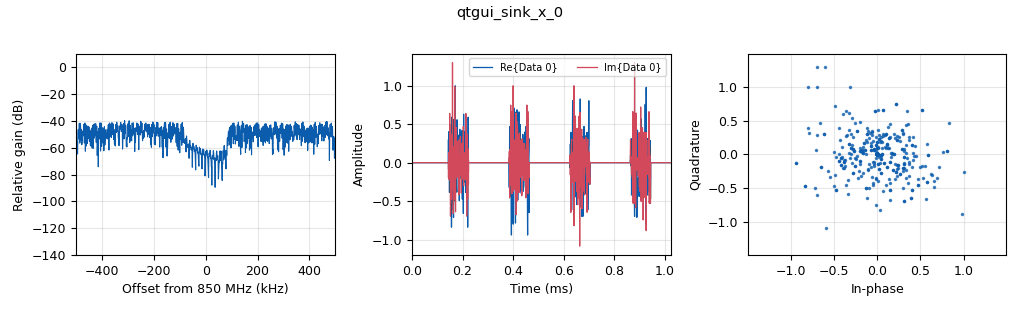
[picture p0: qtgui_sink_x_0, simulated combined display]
options:
  parameters:
    author: harsha
    generate_options: qt_gui
    id: IQ_TX
    output_language: python
    title: HackRF_TX
  states: {}

blocks:
- name: samp_rate
  id: variable
  parameters:
    value: 1e6
  states: {}
- name: analog_random_source_x_0
  id: analog_random_source_x
  parameters:
    max: '3'
    min: '0'
    num_samps: '1000'
    repeat: 'True'
    type: byte
  states: {}
- name: blocks_file_sink_0
  id: blocks_file_sink
  parameters:
    file: /home/harsha/DeepAoA/Indoor Localization Dataset/850MHz/2M/(1,4)/0/rep_Tx.dat
    type: complex
  states: {}
- name: blocks_multiply_const_vxx_0
  id: blocks_multiply_const_vxx
  parameters:
    const: '0.05'
    type: complex
  states: {}
- name: blocks_stream_to_tagged_stream_0
  id: blocks_stream_to_tagged_stream
  parameters:
    len_tag_key: '"packet_len"'
    packet_len: '48'
    type: complex
  states: {}
- name: digital_chunks_to_symbols_xx_0
  id: digital_chunks_to_symbols_xx
  parameters:
    dimension: '1'
    in_type: byte
    out_type: complex
    symbol_table: '[1+1j, -1+1j, -1-1j, 1-1j]'
  states: {}
- name: digital_ofdm_carrier_allocator_cvc_0
  id: digital_ofdm_carrier_allocator_cvc
  parameters:
    fft_len: '64'
    len_tag_key: '"packet_len"'
    occupied_carriers: (tuple([i for i in range(-26, 0) if i not in [-21, -7]] + [i for i in range(1, 27) if i not in [7, 21]]),)
    output_is_shifted: 'True'
    pilot_carriers: ((-21, -7, 7, 21),)
    pilot_symbols: ((1, 1, 1, -1),)
    sync_words: (([0j]*64), ([0j]*64))
  states: {}
- name: digital_ofdm_cyclic_prefixer_0
  id: digital_ofdm_cyclic_prefixer
  parameters:
    cp_len: '16'
    input_size: '64'
    tagname: '"packet_len"'
  states: {}
- name: fft_vxx_0
  id: fft_vxx
  parameters:
    fft_size: '64'
    forward: 'False'
    shift: 'False'
    type: complex
    window: '[]'
  states: {}
- name: osmosdr_sink_0
  id: osmosdr_sink
  parameters:
    args: hackrf=0
    bb_gain0: '25'
    bw0: 1e6
    freq0: 850e6
    gain0: '30'
    if_gain0: '25'
    sample_rate: samp_rate
    sync: sync
    type: fc32
  states: {}
- name: qtgui_sink_x_0
  id: qtgui_sink_x
  parameters:
    bw: samp_rate
    fc: 850e6
    fftsize: '1024'
    type: complex
  states: {}

connections:
- [analog_random_source_x_0, '0', digital_chunks_to_symbols_xx_0, '0']
- [blocks_multiply_const_vxx_0, '0', blocks_file_sink_0, '0']
- [blocks_multiply_const_vxx_0, '0', osmosdr_sink_0, '0']
- [blocks_multiply_const_vxx_0, '0', qtgui_sink_x_0, '0']
- [blocks_stream_to_tagged_stream_0, '0', digital_ofdm_carrier_allocator_cvc_0, '0']
- [digital_chunks_to_symbols_xx_0, '0', blocks_stream_to_tagged_stream_0, '0']
- [digital_ofdm_carrier_allocator_cvc_0, '0', fft_vxx_0, '0']
- [digital_ofdm_cyclic_prefixer_0, '0', blocks_multiply_const_vxx_0, '0']
- [fft_vxx_0, '0', digital_ofdm_cyclic_prefixer_0, '0']

metadata:
  file_format: 1
